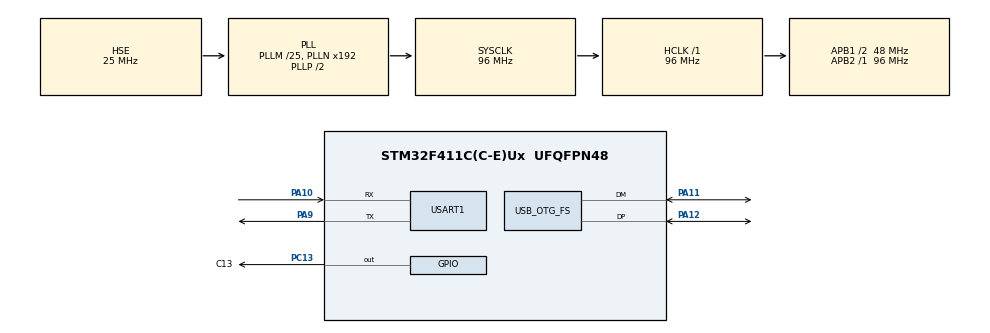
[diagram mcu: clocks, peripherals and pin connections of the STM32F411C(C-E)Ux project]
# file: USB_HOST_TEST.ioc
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Mcu.Family=STM32F4
Mcu.Name=STM32F411C(C-E)Ux
Mcu.Package=UFQFPN48
NVIC.OTG_FS_IRQn=true\:0\:0\:false\:false\:true\:false\:true
NVIC.PriorityGroup=NVIC_PRIORITYGROUP_4
PA10.Mode=Asynchronous
PA10.Signal=USART1_RX
PA11.Mode=Host_Only
PA11.Signal=USB_OTG_FS_DM
PA12.Mode=Host_Only
PA12.Signal=USB_OTG_FS_DP
PA9.Mode=Asynchronous
PA9.Signal=USART1_TX
PC13-ANTI_TAMP.GPIO_Label=C13
PC13-ANTI_TAMP.PinState=GPIO_PIN_SET
PC13-ANTI_TAMP.Signal=GPIO_Output
PH0\ -\ OSC_IN.Mode=HSE-External-Oscillator
PH0\ -\ OSC_IN.Signal=RCC_OSC_IN
PH1\ -\ OSC_OUT.Mode=HSE-External-Oscillator
PH1\ -\ OSC_OUT.Signal=RCC_OSC_OUT
ProjectManager.HeapSize=0x800
ProjectManager.StackSize=0x400
ProjectManager.TargetToolchain=MDK-ARM V5
RCC.48MHZClocksFreq_Value=48000000
RCC.AHBFreq_Value=96000000
RCC.APB1CLKDivider=RCC_HCLK_DIV2
RCC.APB1Freq_Value=48000000
RCC.APB1TimFreq_Value=96000000
RCC.APB2Freq_Value=96000000
RCC.APB2TimFreq_Value=96000000
RCC.CortexFreq_Value=96000000
RCC.HCLKFreq_Value=96000000
RCC.HSE_VALUE=25000000
RCC.HSI_VALUE=16000000
RCC.LSE_VALUE=32768
RCC.PLLM=25
RCC.SYSCLKFreq_VALUE=96000000
RCC.SYSCLKSource=RCC_SYSCLKSOURCE_PLLCLK
RCC.VCOOutputFreq_Value=192000000
USART1.VirtualMode=VM_ASYNC
USB_HOST.USBH_DEBUG_LEVEL=3
USB_HOST.USBH_HandleTypeDef=hUsbHostFS
USB_HOST.VirtualModeFS=All_Classes
USB_OTG_FS.VirtualMode=Host_Only
USB_OTG_FS.phy_itface=HCD_PHY_EMBEDDED
VP_USB_HOST_VS_USB_HOST_ALL_CLASS_FS.Mode=ALL_Classes_FS
board=custom

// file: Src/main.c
/* USER CODE BEGIN Header */
/**
  ******************************************************************************
  * @file           : main.c
  * @brief          : Main program body
  ******************************************************************************
  * @attention
  *
  * <h2><center>&copy; Copyright (c) 2019 STMicroelectronics.
  * All rights reserved.</center></h2>
  *
  * This software component is licensed by ST under Ultimate Liberty license
  * SLA0044, the "License"; You may not use this file except in compliance with
  * the License. You may obtain a copy of the License at:
  *                             www.st.com/SLA0044
  *
  ******************************************************************************
  */
/* USER CODE END Header */

#include "main.h"
#include "usart.h"
#include "usb_host.h"
#include "gpio.h"

/* USER CODE BEGIN Includes */
#include <stdio.h>
#include "usbh_hid.h"
/* USER CODE END Includes */

/* USER CODE BEGIN PTD */
#ifdef __GNUC__
/* With GCC, small printf (option LD Linker->Libraries->Small printf
   set to 'Yes') calls __io_putchar() */
#define PUTCHAR_PROTOTYPE int __io_putchar(int ch)
#else
#define PUTCHAR_PROTOTYPE int fputc(int ch, FILE *f)
#endif /* __GNUC__ */

/**
  * @brief  Retargets the C library printf function to the USART.
  * @param  None
  * @retval None
  */
PUTCHAR_PROTOTYPE
{
  /* Place your implementation of fputc here */
  /* e.g. write a character to the USART3 and Loop until the end of transmission */
  HAL_UART_Transmit(&huart1, (uint8_t *)&ch, 1, 0xFFFF);

  return ch;
}
/* USER CODE END PTD */

void SystemClock_Config(void);
void MX_USB_HOST_Process(void);

/* USER CODE BEGIN PFP */
/**
  * @brief  Main routine for Keyboard application
  * @param  phost: Host handle
  * @retval None
  */
static void USBH_KeybdDemo(USBH_HandleTypeDef *phost)
{
  HID_KEYBD_Info_TypeDef *k_pinfo;
  char c;
  k_pinfo = USBH_HID_GetKeybdInfo(phost);

  if(k_pinfo != NULL)
  {
    c = USBH_HID_GetASCIICode(k_pinfo);
    if(c != 0)
    {
      printf("%c",c);
    }
  }
}

/**
  * @brief  Main routine for Mouse application
  * @param  phost: Host handle
  * @retval None
  */
static void USBH_MouseDemo(USBH_HandleTypeDef *phost)
{
	extern HID_MOUSE_Info_TypeDef mouse_info;

  HID_MOUSE_Info_TypeDef *m_pinfo;

	static int16_t x=0,y=0;
  m_pinfo = USBH_HID_GetMouseInfo(phost);
  if(m_pinfo != NULL)
  {
    /* Handle Mouse data position */
		if(mouse_info.x !=0 ||mouse_info.y != 0)
		{
			x+=(int8_t)mouse_info.x;
			y+=(int8_t)mouse_info.y;
			printf("X:%d,Y:%d\r\n",x,y);
		}

    if(m_pinfo->buttons[0])
    {
			printf("左键按下\r\n");
    }
    else
    {
      //printf("左键松开\r\n");
    }

    if(m_pinfo->buttons[1])
    {
      printf("右键按下\r\n");
    }
    else
    {
      //printf("右键松开\r\n");
    }

    if(m_pinfo->buttons[2])
    {
      printf("中键按下\r\n");
    }
    else
    {
      //printf("中键松开\r\n");
    }
  }
}
/* USER CODE END PFP */

/* USER CODE BEGIN 0 */
 /*
  *power by WeAct Studio
  *The board with `WeAct` Logo && `version number` is our board, quality guarantee.
  *For more information please visit: https://github.com/WeActTC/MiniF4-STM32F4x1
  *更多信息请访问：https://gitee.com/WeActTC/MiniF4-STM32F4x1
  */
/* USER CODE END 0 */

int main(void)
{
  /* USER CODE BEGIN 1 */
	uint32_t TimeCount;
	uint32_t USBHostState;

	TimeCount = 0;
	USBHostState = HID_UNKNOWN;
  /* USER CODE END 1 */

  /* MCU Configuration--------------------------------------------------------*/

  /* Reset of all peripherals, Initializes the Flash interface and the Systick. */
  HAL_Init();

  /* Configure the system clock */
  SystemClock_Config();

  /* Initialize all configured peripherals */
  MX_GPIO_Init();
  MX_USART1_UART_Init();
  MX_USB_HOST_Init();
  /* USER CODE BEGIN 2 */
	printf("WeAct STM32F411CEU6 Core Board\r\n");
	printf("Start ...\r\n");
  /* USER CODE END 2 */

  /* Infinite loop */
  while (1)
  {
    MX_USB_HOST_Process();

    /* USER CODE BEGIN 3 */
		extern USBH_HandleTypeDef hUsbHostFS;
		if(USBH_HID_GetDeviceType(&hUsbHostFS) == HID_KEYBOARD)
		{
			if(USBHostState == HID_UNKNOWN)
			{
				printf("\r\n连接的是键盘\r\n");
				USBHostState = HID_KEYBOARD;
			}
			HAL_GPIO_TogglePin(C13_GPIO_Port,C13_Pin);
			USBH_KeybdDemo(&hUsbHostFS);
		}
		else if(USBH_HID_GetDeviceType(&hUsbHostFS) == HID_MOUSE)
		{
			if(USBHostState == HID_UNKNOWN)
			{
				printf("\r\n连接的是鼠标\r\n");
				USBHostState = HID_MOUSE;
			}
			HAL_GPIO_TogglePin(C13_GPIO_Port,C13_Pin);
			USBH_MouseDemo(&hUsbHostFS);
		}
		else
		{
			if(USBHostState == HID_KEYBOARD)
				printf("\r\n键盘断开连接\r\n");
			else if(USBHostState == HID_KEYBOARD)
				printf("\r\n鼠标断开连接\r\n");
			USBHostState = HID_UNKNOWN;
		}

		HAL_Delay(0); // 1ms
		TimeCount ++;

		if(TimeCount % 500 == 0)
			HAL_GPIO_TogglePin(C13_GPIO_Port,C13_Pin);

		if(TimeCount > 999) TimeCount = 0;
  }

  /* USER CODE END 3 */
}

void SystemClock_Config(void)
{
  RCC_OscInitTypeDef RCC_OscInitStruct = {0};
  RCC_ClkInitTypeDef RCC_ClkInitStruct = {0};

  /** Configure the main internal regulator output voltage
  */
  __HAL_RCC_PWR_CLK_ENABLE();
  __HAL_PWR_VOLTAGESCALING_CONFIG(PWR_REGULATOR_VOLTAGE_SCALE1);
  /** Initializes the CPU, AHB and APB busses clocks
  */
  RCC_OscInitStruct.OscillatorType = RCC_OSCILLATORTYPE_HSE;
  RCC_OscInitStruct.HSEState = RCC_HSE_ON;
  RCC_OscInitStruct.PLL.PLLState = RCC_PLL_ON;
  RCC_OscInitStruct.PLL.PLLSource = RCC_PLLSOURCE_HSE;
  RCC_OscInitStruct.PLL.PLLM = 25;
  RCC_OscInitStruct.PLL.PLLN = 192;
  RCC_OscInitStruct.PLL.PLLP = RCC_PLLP_DIV2;
  RCC_OscInitStruct.PLL.PLLQ = 4;
  if (HAL_RCC_OscConfig(&RCC_OscInitStruct) != HAL_OK)
  {
    Error_Handler();
  }
  /** Initializes the CPU, AHB and APB busses clocks
  */
  RCC_ClkInitStruct.ClockType = RCC_CLOCKTYPE_HCLK|RCC_CLOCKTYPE_SYSCLK
                              |RCC_CLOCKTYPE_PCLK1|RCC_CLOCKTYPE_PCLK2;
  RCC_ClkInitStruct.SYSCLKSource = RCC_SYSCLKSOURCE_PLLCLK;
  RCC_ClkInitStruct.AHBCLKDivider = RCC_SYSCLK_DIV1;
  RCC_ClkInitStruct.APB1CLKDivider = RCC_HCLK_DIV2;
  RCC_ClkInitStruct.APB2CLKDivider = RCC_HCLK_DIV1;

  if (HAL_RCC_ClockConfig(&RCC_ClkInitStruct, FLASH_LATENCY_3) != HAL_OK)
  {
    Error_Handler();
  }
}

void Error_Handler(void)
{
}

/************************ (C) COPYRIGHT STMicroelectronics *****END OF FILE****/
